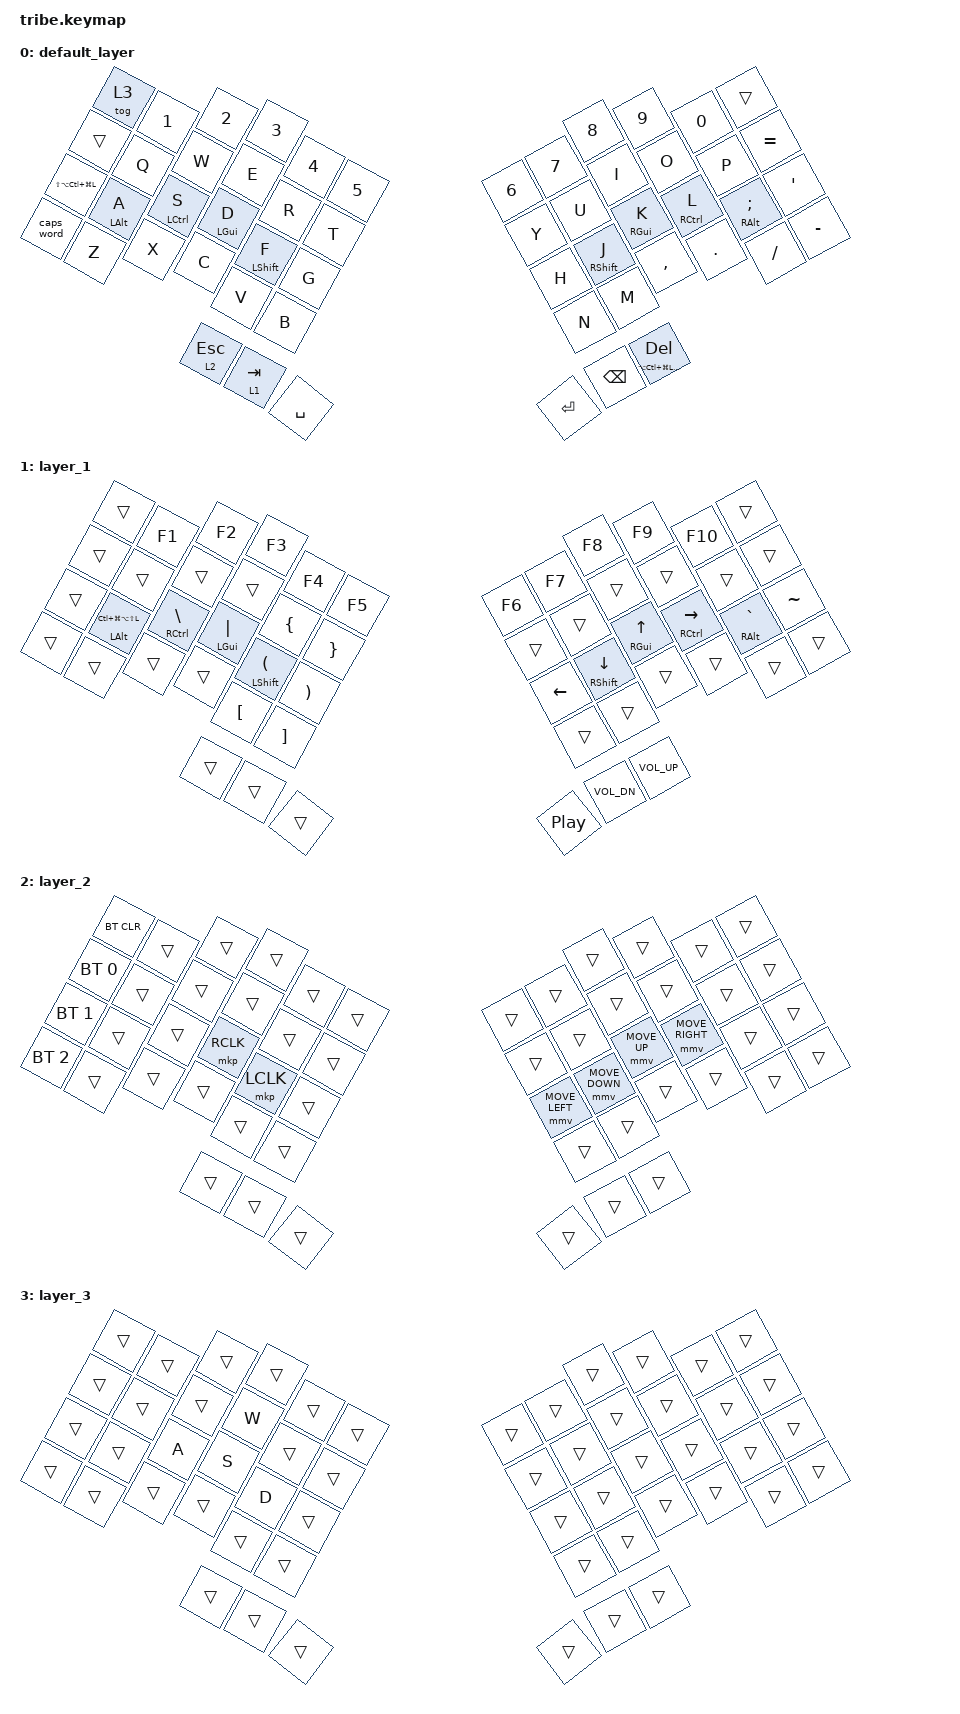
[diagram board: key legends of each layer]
#include <behaviors.dtsi>
#include <dt-bindings/zmk/bt.h>
#include <dt-bindings/zmk/keys.h>
#define ZMK_POINTING_DEFAULT_MOVE_VAL 1500
#include <dt-bindings/zmk/pointing.h>

&mt {
    quick-tap-ms = <200>;
    flavor = "balanced";
    require-prior-idle-ms = <100>;
};

&lt {
    quick-tap-ms = <150>;
    require-prior-idle-ms = <100>;
    flavor = "hold-preferred";
};

/ {
    combos {
        compatible = "zmk,combos";

        cmd_a {
            bindings = <&kp LG(A)>;
            key-positions = <37 25>;
        };

        cmd_x {
            bindings = <&kp LG(X)>;
            key-positions = <38 26>;
        };

        cmd_c {
            bindings = <&kp LG(C)>;
            key-positions = <39 27>;
        };

        cmd_v {
            bindings = <&kp LG(V)>;
            key-positions = <40 28>;
        };
    };

    behaviors {
        ht_kp: ht_kp {
            compatible = "zmk,behavior-hold-tap";
            label = "HT_KP";
            bindings = <&kp>, <&kp>;

            #binding-cells = <2>;
            tapping-term-ms = <250>;
            flavor = "tap-preferred";
        };
    };

    keymap {
        compatible = "zmk,keymap";

        default_layer {
            bindings = <
&tog 3                 &kp N1      &kp N2       &kp N3        &kp N4        &kp N5     &kp N6     &kp N7         &kp N8                      &kp N9       &kp N0         &trans
&trans                 &kp Q       &kp W        &kp E         &kp R         &kp T      &kp Y      &kp U          &kp I                       &kp O        &kp P          &kp EQUAL
&kp LS(LA(LC(LG(L))))  &mt LALT A  &mt LCTRL S  &mt LGUI D    &mt LSHIFT F  &kp G      &kp H      &mt RSHIFT J   &mt RGUI K                  &mt RCTRL L  &mt RALT SEMI  &kp SINGLE_QUOTE
&caps_word             &kp Z       &kp X        &kp C         &kp V         &kp B      &kp N      &kp M          &kp COMMA                   &kp DOT      &kp SLASH      &kp MINUS
                                                &lt 2 ESCAPE  &lt 1 TAB     &kp SPACE  &kp ENTER  &kp BACKSPACE  &mt LA(LC(LG(LSHIFT))) DEL
            >;
        };

        layer_1 {
            bindings = <
&trans  &kp F1                      &kp F2               &kp F3         &kp F4            &kp F5             &kp F6            &kp F7           &kp F8        &kp F9           &kp F10         &trans
&trans  &trans                      &trans               &trans         &kp LEFT_BRACE    &kp RIGHT_BRACE    &trans            &trans           &trans        &trans           &trans          &trans
&trans  &mt LALT LC(LG(LA(LS(L))))  &mt RCTRL BACKSLASH  &mt LGUI PIPE  &mt LSHIFT LPAR   &kp RPAR           &kp LEFT          &mt RSHIFT DOWN  &mt RGUI UP   &mt RCTRL RIGHT  &mt RALT GRAVE  &kp TILDE
&trans  &trans                      &trans               &trans         &kp LEFT_BRACKET  &kp RIGHT_BRACKET  &trans            &trans           &trans        &trans           &trans          &trans
                                                         &trans         &trans            &trans             &kp C_PLAY_PAUSE  &kp C_VOL_DN     &kp C_VOL_UP
            >;
        };

        layer_2 {
            bindings = <
&bt BT_CLR    &trans  &trans  &trans     &trans     &trans  &trans          &trans          &trans        &trans           &trans  &trans
&bt BT_SEL 0  &trans  &trans  &trans     &trans     &trans  &trans          &trans          &trans        &trans           &trans  &trans
&bt BT_SEL 1  &trans  &trans  &mkp RCLK  &mkp LCLK  &trans  &mmv MOVE_LEFT  &mmv MOVE_DOWN  &mmv MOVE_UP  &mmv MOVE_RIGHT  &trans  &trans
&bt BT_SEL 2  &trans  &trans  &trans     &trans     &trans  &trans          &trans          &trans        &trans           &trans  &trans
                              &trans     &trans     &trans  &trans          &trans          &trans
            >;
        };

        layer_3 {
            bindings = <
&trans  &trans  &trans  &trans  &trans  &trans  &trans  &trans  &trans  &trans  &trans  &trans
&trans  &trans  &trans  &kp W   &trans  &trans  &trans  &trans  &trans  &trans  &trans  &trans
&trans  &trans  &kp A   &kp S   &kp D   &trans  &trans  &trans  &trans  &trans  &trans  &trans
&trans  &trans  &trans  &trans  &trans  &trans  &trans  &trans  &trans  &trans  &trans  &trans
                        &trans  &trans  &trans  &trans  &trans  &trans
            >;
        };
    };
};
